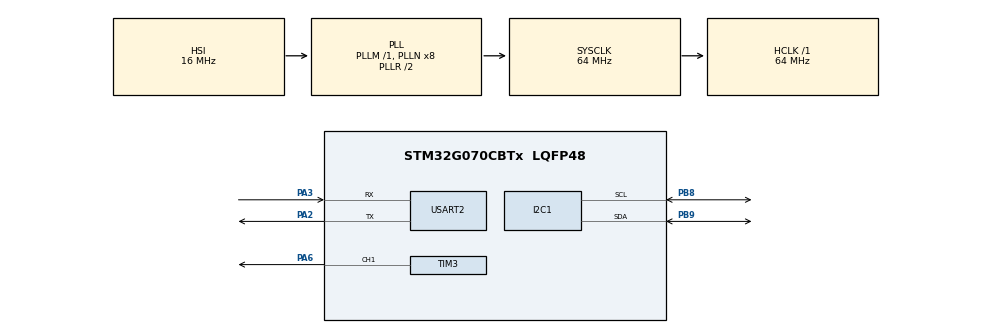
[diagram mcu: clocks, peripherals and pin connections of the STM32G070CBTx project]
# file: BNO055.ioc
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<<<<<<< HEAD
I2C1.Timing=0x10B17DB5
Mcu.Family=STM32G0
Mcu.Name=STM32G070CBTx
Mcu.Package=LQFP48
PA2.Mode=Asynchronous
PA2.Signal=USART2_TX
PA3.Mode=Asynchronous
PA3.Signal=USART2_RX
PA6.Signal=S_TIM3_CH1
PB8.Mode=I2C
PB8.Signal=I2C1_SCL
PB9.Mode=I2C
PB9.Signal=I2C1_SDA
PF0-OSC_IN\ (PF0).Mode=HSE-External-Oscillator
PF0-OSC_IN\ (PF0).Signal=RCC_OSC_IN
PF1-OSC_OUT\ (PF1).Mode=HSE-External-Oscillator
PF1-OSC_OUT\ (PF1).Signal=RCC_OSC_OUT
ProjectManager.HeapSize=0x200
ProjectManager.StackSize=0x400
ProjectManager.TargetToolchain=STM32CubeIDE
RCC.ADCFreq_Value=64000000
RCC.AHBFreq_Value=64000000
RCC.CortexFreq_Value=64000000
RCC.EXTERNAL_CLOCK_VALUE=48000
RCC.HCLKFreq_Value=64000000
RCC.HSE_VALUE=8000000
RCC.HSI_VALUE=16000000
RCC.LSE_VALUE=32768
RCC.SYSCLKFreq_VALUE=64000000
RCC.SYSCLKSource=RCC_SYSCLKSOURCE_PLLCLK
RCC.VCOOutputFreq_Value=128000000
SH.S_TIM3_CH1.0=TIM3_CH1,PWM Generation1 CH1
TIM3.Channel-PWM\ Generation1\ CH1=TIM_CHANNEL_1
USART2.VirtualMode-Asynchronous=VM_ASYNC
board=custom
=======
I2C1.Timing=0x10B17DB5
Mcu.Family=STM32G0
Mcu.Name=STM32G070CBTx
Mcu.Package=LQFP48
PA2.Mode=Asynchronous
PA2.Signal=USART2_TX
PA3.Mode=Asynchronous
PA3.Signal=USART2_RX
PA6.Signal=S_TIM3_CH1
PB8.Mode=I2C
PB8.Signal=I2C1_SCL
PB9.Mode=I2C
PB9.Signal=I2C1_SDA
PF0-OSC_IN\ (PF0).Mode=HSE-External-Oscillator
PF0-OSC_IN\ (PF0).Signal=RCC_OSC_IN
PF1-OSC_OUT\ (PF1).Mode=HSE-External-Oscillator
PF1-OSC_OUT\ (PF1).Signal=RCC_OSC_OUT
ProjectManager.HeapSize=0x200
ProjectManager.StackSize=0x400
ProjectManager.TargetToolchain=STM32CubeIDE
RCC.ADCFreq_Value=64000000
RCC.AHBFreq_Value=64000000
RCC.CortexFreq_Value=64000000
RCC.EXTERNAL_CLOCK_VALUE=48000
RCC.HCLKFreq_Value=64000000
RCC.HSE_VALUE=8000000
RCC.HSI_VALUE=16000000
RCC.LSE_VALUE=32768
RCC.SYSCLKFreq_VALUE=64000000
RCC.SYSCLKSource=RCC_SYSCLKSOURCE_PLLCLK
RCC.VCOOutputFreq_Value=128000000
SH.S_TIM3_CH1.0=TIM3_CH1,PWM Generation1 CH1
TIM3.Channel-PWM\ Generation1\ CH1=TIM_CHANNEL_1
USART2.VirtualMode-Asynchronous=VM_ASYNC
board=custom
>>>>>>> e7f9d5fadfd82d3603a8d5404be5383d040668f9

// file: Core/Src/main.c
/* USER CODE BEGIN Header */
/**
  ******************************************************************************
  * @file           : main.c
  * @brief          : Main program body
  ******************************************************************************
  * @attention
  *
  * Copyright (c) 2026 STMicroelectronics.
  * All rights reserved.
  *
  * This software is licensed under terms that can be found in the LICENSE file
  * in the root directory of this software component.
  * If no LICENSE file comes with this software, it is provided AS-IS.
  *
  ******************************************************************************
  */
/* USER CODE END Header */
#include "main.h"

/* USER CODE BEGIN Includes */
#include "bno055.h"
#include <stdint.h>
#include <stdio.h>
#include <string.h>
#include <math.h>
/* USER CODE END Includes */

/* USER CODE BEGIN PTD */

typedef enum {
  STATE_STANDING = 0,
  STATE_KNEELING,
  STATE_PRONE,
} WorkerState_t;

#define PHASE1_RMS_WINDOW_SAMPLES (100U)

typedef struct {
  float samples[PHASE1_RMS_WINDOW_SAMPLES];
  uint16_t index;
  uint16_t count;
  float sum;
  float sum_sq;
  float mean;
  float variance;
  float std_dev;
  float max;
  float min;
} Phase1Window_t;

/* USER CODE END PTD */

/* USER CODE BEGIN PD */

// ---- Phase 3: Lever-arm vector (neck base -> IMU/UWB tag on helmet) ----
// MEASURE these on your own helmet mount, in metres, in the IMU's body frame.
// Placeholder assumes the tag sits ~20 cm straight above the neck pivot.
#define LEVER_ARM_X (0.00f)
#define LEVER_ARM_Y (0.00f)
#define LEVER_ARM_Z (0.20f)

// ---- Phase 2: Posture classification thresholds ----
#define KNEEL_PITCH_THRESH_DEG (-45.0f) // pitch below this = candidate kneel/bend
#define KNEEL_HOLD_MS          (1500U)  // must hold for this long (debounce)
#define PRONE_ANGLE_THRESH_DEG (75.0f)  // |pitch| or |roll| beyond this = prone/fallen
#define G_MS2                  (9.80665f)
#define NEAR_1G_BAND_MS2       (1.5f)   // tolerance band around 1g for "still standing/kneeling"
#define FREEFALL_THRESH_MS2    (2.0f)   // |a| below this = freefall signature
#define IMPACT_THRESH_MS2      (25.0f)  // |a| above this = impact signature

// ---- Phase 2: Virtual-Z biomechanical invariants (metres) ----
#define VIRTUAL_Z_STANDING (1.70f)
#define VIRTUAL_Z_KNEELING (1.00f)
#define VIRTUAL_Z_PRONE    (0.20f)

// ---- Phase 1: IMU motion-intensity analysis ----
#define PHASE1_SAMPLE_PERIOD_MS (10U)
#define PHASE1_CSV_PERIOD_MS (50U)
#define PHASE1_REPORT_PERIOD_MS (250U)
#define PHASE1_DEFAULT_GRAVITY_MS2 (9.80665f)

// ---- Phase 4: Simple pedometer (step counting + velocity estimate) ----
// Peak/trough thresholds on the low-pass-filtered accel magnitude. A step is
// armed when the filtered magnitude rises above the high threshold (the
// push-off spike) and confirmed when it subsequently falls below the low
// threshold (the trough between steps). Tune these against your own logged
// CSV data -- they depend on mount location/orientation.
#define PEDOMETER_STEP_THRESH_HIGH_MS2 (11.5f)
#define PEDOMETER_STEP_THRESH_LOW_MS2  (8.5f)
// Fastest / slowest plausible step-to-step interval, used to reject noise
// (bounces counted as extra steps) and to decay velocity to zero once the
// person has stopped moving.
#define PEDOMETER_MIN_STEP_INTERVAL_MS (250U)
#define PEDOMETER_MAX_STEP_INTERVAL_MS (2000U)
// Exponential low-pass filter coefficient applied to the raw accel magnitude
// before peak detection (0 < alpha <= 1; lower = smoother/slower).
#define PEDOMETER_LPF_ALPHA             (0.25f)
// Weinberg dynamic stride-length model: stride = K * (peak-trough swing)^0.25.
// K is a per-person gait constant -- 0.50 is a reasonable adult default but
// should be calibrated against a known walking distance for real accuracy.
#define PEDOMETER_STRIDE_K              (0.50f)

// ---- Phase 5: velocity -> PWM mapping (drives a magnetic induction device) ----
// Timer: TIM3 CH1 on PA6 (Nucleo-G070RB Arduino header D12, AF1).
// VERIFY this pin/AF against your own CubeMX pinout before flashing --
// board silkscreens and AF tables vary by package/revision.
// PCLK1 = 64 MHz per the SystemClock_Config in this file (PLL 16MHz*8/2, no APB
// prescaler), so PSC/ARR below give a 500 Hz carrier. The compare register is
// then scaled from 1000 (minimal activity / near-zero response) up to 2000
// (highest plausible walking speed for an average human using their legs).
#define PWM_TIM_PSC              (63U)    // 64 MHz / (63+1)  = 1 MHz timer tick
#define PWM_TIM_ARR              (2000U)  // 1 MHz / (2000) = 500 Hz PWM carrier
#define PWM_DUTY_MIN_STEPS       (1000U)  // near-zero / low-motion output
#define PWM_DUTY_MAX_STEPS       (2000U)  // highest plausible human leg speed
// Walking speed (m/s) that should map to the top of the PWM command range.
// Tune this against your induction driver's actual control range -- this is a
// placeholder based on a brisk adult walking pace, not a measured value.
#define PWM_VELOCITY_MAX_MPS     (2.5f)

/* USER CODE END PD */

I2C_HandleTypeDef hi2c1;

TIM_HandleTypeDef htim3;

UART_HandleTypeDef huart2;

/* USER CODE BEGIN PV */
bno055_t imu;
volatile uint8_t csv_header_printed = 0;

Phase1Window_t phase1_acc_mag_window;
Phase1Window_t phase1_motion_window;
Phase1Window_t phase1_rms_window;
float phase1_gravity_estimate = PHASE1_DEFAULT_GRAVITY_MS2;
float phase1_current_acc_mag = 0.0f;
float phase1_current_motion_mag = 0.0f;
float phase1_current_rms = 0.0f;
float phase1_idle_threshold = 0.08f;
float phase1_walk_threshold = 0.35f;
float phase1_run_threshold = 0.85f;
uint32_t phase1_last_sample_ms = 0;
uint32_t phase1_last_csv_ms = 0;
uint32_t phase1_last_report_ms = 0;

// Global declarations for STM32CubeIDE Live Watch/Debugging

WorkerState_t current_state = STATE_STANDING;
float virtual_z = 1.70f;
float comp_offsetX = 0.0f;
float comp_offsetY = 0.0f;
float svm = 0.0f;

// ---- Phase 4: pedometer state ----
float ped_filtered_mag = 9.80665f;   // low-pass-filtered accel magnitude, seeded at 1g
uint8_t ped_armed = 0;               // 1 while waiting for the falling edge that confirms a step
float ped_peak_mag = 0.0f;
float ped_trough_mag = 0.0f;
uint32_t ped_last_step_ms = 0;
uint32_t ped_step_count = 0;
float ped_stride_length_m = 0.0f;
float ped_velocity_mps = 0.0f;       // instantaneous walking speed estimate
float ped_velocity_from_cadence_mps = 0.0f; // explicit steps/s -> m/s estimate
float ped_distance_m = 0.0f;         // cumulative distance walked
float ped_cadence_spm = 0.0f;        // steps per minute
float ped_cadence_sps = 0.0f;        // steps per second (same cadence, different units)
uint8_t ped_step_detected = 0;       // pulses 1 for the sample a step was confirmed on

// ---- Phase 5: PWM output state ----
TIM_HandleTypeDef htim3;              // drives the magnetic induction device on PA6/TIM3_CH1
uint32_t current_pwm_ccr = 0; // Add this line

/* USER CODE END PV */

void SystemClock_Config(void);
static void MX_GPIO_Init(void);
static void MX_I2C1_Init(void);
static void MX_USART2_UART_Init(void);
static void MX_TIM3_Init(void);
/* USER CODE BEGIN PFP */
static void classify_posture(const bno055_euler_t *euler, float svm_val);
static float virtual_z_for_state(WorkerState_t state);
static void compute_lever_arm(const bno055_vec4_t *q, float *offX, float *offY);
static void phase1_window_reset(Phase1Window_t *window);
static void phase1_window_update(Phase1Window_t *window, float value);
static uint8_t pedometer_update(float raw_mag, uint32_t now_ms);
static void MX_TIM3_PWM_Init(void);
static void pwm_set_from_velocity(float velocity_mps);
/* USER CODE END PFP */

/* USER CODE BEGIN 0 */

static void phase1_window_reset(Phase1Window_t *window)
{
  memset(window, 0, sizeof(*window));
  window->max = 0.0f;
  window->min = 0.0f;
}

static void phase1_window_update(Phase1Window_t *window, float value)
{
  if (window->count < PHASE1_RMS_WINDOW_SAMPLES)
  {
    window->samples[window->index] = value;
    window->count++;
  }
  else
  {
    float old_value = window->samples[window->index];
    window->sum -= old_value;
    window->sum_sq -= old_value * old_value;
    window->samples[window->index] = value;
  }

  window->sum += value;
  window->sum_sq += value * value;
  window->index = (window->index + 1U) % PHASE1_RMS_WINDOW_SAMPLES;

  if (window->count > 0U)
  {
    window->mean = window->sum / (float)window->count;
    float variance = (window->sum_sq / (float)window->count) - (window->mean * window->mean);
    if (variance < 0.0f)
    {
      variance = 0.0f;
    }
    window->variance = variance;
    window->std_dev = sqrtf(variance);
  }

  float max_val = -1000000.0f;
  float min_val = 1000000.0f;
  for (uint16_t i = 0; i < window->count; i++)
  {
    float sample = window->samples[i];
    if (sample > max_val)
    {
      max_val = sample;
    }
    if (sample < min_val)
    {
      min_val = sample;
    }
  }

  window->max = max_val;
  window->min = min_val;
}

// Debounce timer state for the kneel/bend transition (S0 -> S1)
static uint32_t kneel_timer_start  = 0;
static uint8_t  kneel_timer_active = 0;

/**
 * @brief Phase 2: Posture classification ("Virtual-Z" trigger).
 *        Updates the global current_state using pitch/roll + a hold timer
 *        for S1 and an instantaneous check for S2 (prone/fallen).
 */
static void classify_posture(const bno055_euler_t *euler, float svm_val)
{
  // S2 - Prone/Fallen: extreme tilt, OR a freefall/impact acceleration signature.
  // This check is instantaneous (no debounce) since it's a safety-critical state.
  if (fabsf(euler->pitch) > PRONE_ANGLE_THRESH_DEG ||
      fabsf(euler->roll)  > PRONE_ANGLE_THRESH_DEG ||
      svm_val < FREEFALL_THRESH_MS2 ||
      svm_val > IMPACT_THRESH_MS2)
  {
    current_state = STATE_PRONE;
    kneel_timer_active = 0;
    return;
  }

  // S1 - Kneeling/Bending: pitch below threshold, sustained for KNEEL_HOLD_MS,
  // AND the accel magnitude stays near 1g (rules out a fall in progress).
  uint8_t near_1g = (svm_val > (G_MS2 - NEAR_1G_BAND_MS2)) &&
                    (svm_val < (G_MS2 + NEAR_1G_BAND_MS2));

  if (euler->pitch < KNEEL_PITCH_THRESH_DEG && near_1g)
  {
    if (!kneel_timer_active)
    {
      kneel_timer_active = 1;
      kneel_timer_start  = HAL_GetTick();
    }
    if ((HAL_GetTick() - kneel_timer_start) > KNEEL_HOLD_MS)
    {
      current_state = STATE_KNEELING;
    }
    // else: still within the debounce window, hold last classified state
  }
  else
  {
    kneel_timer_active = 0;
    current_state = STATE_STANDING;
  }
}

/**
 * @brief Maps a discrete posture state to its Virtual-Z biomechanical invariant.
 */
static float virtual_z_for_state(WorkerState_t state)
{
  switch (state)
  {
    case STATE_KNEELING: return VIRTUAL_Z_KNEELING;
    case STATE_PRONE:    return VIRTUAL_Z_PRONE;
    case STATE_STANDING:
    default:             return VIRTUAL_Z_STANDING;
  }
}

/**
 * @brief Phase 3: Lever-arm compensation.
 *        Rotates the fixed neck->tag lever-arm vector by the IMU's current
 *        orientation quaternion, producing the (x,y) planar displacement the
 *        tag has moved away from the torso due to head rotation alone.
 *        A host-side EKF should subtract (offX, offY) from the raw UWB
 *        tag coordinate to recover the stabilized torso position:
 *            p_torso = p_tag - R(q) * l_arm
 */
static void compute_lever_arm(const bno055_vec4_t *q, float *offX, float *offY)
{
  float w = q->w, x = q->x, y = q->y, z = q->z;

  // Rows 0 and 1 of the rotation matrix derived from the quaternion
  // (row 2 / Z is not needed here: Z is handled separately via Virtual-Z)
  float r00 = 1.0f - 2.0f * (y * y + z * z);
  float r01 = 2.0f * (x * y - w * z);
  float r02 = 2.0f * (x * z + w * y);
  float r10 = 2.0f * (x * y + w * z);
  float r11 = 1.0f - 2.0f * (x * x + z * z);
  float r12 = 2.0f * (y * z - w * x);

  *offX = r00 * LEVER_ARM_X + r01 * LEVER_ARM_Y + r02 * LEVER_ARM_Z;
  *offY = r10 * LEVER_ARM_X + r11 * LEVER_ARM_Y + r12 * LEVER_ARM_Z;
}

/**
 * @brief Phase 4: Simple peak/trough pedometer with a dynamic (Weinberg)
 *        stride-length model, driven off the raw accel-magnitude signal.
 *
 *        1) Low-pass filters the raw accel magnitude to smooth sensor noise.
 *        2) Arms when the filtered signal rises above a high threshold (the
 *           push-off spike of a footstep) and confirms the step when it
 *           subsequently falls below a low threshold (the trough between
 *           steps), with a minimum-interval debounce to reject bounce.
 *        3) On each confirmed step, estimates stride length from the
 *           peak-to-trough swing (harder swing -> longer stride) and divides
 *           by the step interval to get an instantaneous walking velocity.
 *        4) If no step has landed for PEDOMETER_MAX_STEP_INTERVAL_MS, the
 *           velocity/cadence decay to zero so the display doesn't get stuck
 *           showing a stale walking speed once the person has stopped.
 *
 * @param  raw_mag Raw accel magnitude ||accel|| (m/s^2) for this sample --
 *                 callers that already compute svm should pass it straight
 *                 in to avoid a redundant sqrt.
 * @param  now_ms  Current tick count (HAL_GetTick()).
 * @retval 1 on the sample a step was confirmed, 0 otherwise.
 */
static uint8_t pedometer_update(float raw_mag, uint32_t now_ms)
{
  // Smooth the raw signal so single-sample spikes don't false-trigger.
  ped_filtered_mag += PEDOMETER_LPF_ALPHA * (raw_mag - ped_filtered_mag);

  uint8_t step_detected = 0;

  if (!ped_armed)
  {
    // Waiting for the rising edge (push-off) of the next step.
    if (ped_filtered_mag > PEDOMETER_STEP_THRESH_HIGH_MS2)
    {
      ped_armed = 1U;
      ped_peak_mag = ped_filtered_mag;
      ped_trough_mag = ped_filtered_mag;
    }
  }
  else
  {
    if (ped_filtered_mag > ped_peak_mag)   ped_peak_mag = ped_filtered_mag;
    if (ped_filtered_mag < ped_trough_mag) ped_trough_mag = ped_filtered_mag;

    if (ped_filtered_mag < PEDOMETER_STEP_THRESH_LOW_MS2)
    {
      // Falling edge confirms the step, provided it's not just bounce off
      // the previous one.
      uint32_t interval_ms = now_ms - ped_last_step_ms;
      if (ped_last_step_ms == 0U || interval_ms >= PEDOMETER_MIN_STEP_INTERVAL_MS)
      {
        ped_step_count++;
        step_detected = 1U;

        // Weinberg dynamic stride estimate: stride = K * swing^0.25.
        float swing = ped_peak_mag - ped_trough_mag;
        if (swing < 0.0f) swing = 0.0f;
        ped_stride_length_m = PEDOMETER_STRIDE_K * sqrtf(sqrtf(swing));

        if (ped_last_step_ms != 0U && interval_ms > 0U && interval_ms < PEDOMETER_MAX_STEP_INTERVAL_MS)
        {
          float interval_s = (float)interval_ms / 1000.0f;
          ped_cadence_spm = 60000.0f / (float)interval_ms;
          ped_cadence_sps = 1000.0f / (float)interval_ms;

          // Velocity from cadence is the simple relationship:
          // steps/second * stride_length_in_meters = metres/second.
          ped_velocity_from_cadence_mps = ped_stride_length_m * ped_cadence_sps;
          ped_velocity_mps = ped_velocity_from_cadence_mps;

          // The old interval-based form gives the same result mathematically:
          // ped_stride_length_m / interval_s == ped_stride_length_m * cadence_sps.
          (void)interval_s;
        }
        else
        {
          // First step ever, or the gap was too long to trust a velocity from.
          ped_velocity_mps = 0.0f;
          ped_velocity_from_cadence_mps = 0.0f;
          ped_cadence_spm = 0.0f;
          ped_cadence_sps = 0.0f;
        }

        ped_distance_m += ped_stride_length_m;
        ped_last_step_ms = now_ms;
      }

      ped_armed = 0U;
    }
  }

  // No step for too long -> the person has stopped, decay speed/cadence to 0.
  if (ped_last_step_ms != 0U && (now_ms - ped_last_step_ms) > PEDOMETER_MAX_STEP_INTERVAL_MS)
  {
    ped_velocity_mps = 0.0f;
    ped_cadence_spm = 0.0f;
    ped_cadence_sps = 0.0f;
  }

  return step_detected;
}

/**
 * @brief Phase 5: One-time TIM3 PWM peripheral setup (PA6 / TIM3_CH1).
 *        Kept in USER CODE so it survives CubeMX regeneration -- if you add
 *        TIM3 in the .ioc file instead, delete this and use the generated
 *        MX_TIM3_Init() the normal way.
 */
static void MX_TIM3_PWM_Init(void)
{
  __HAL_RCC_TIM3_CLK_ENABLE();
  __HAL_RCC_GPIOA_CLK_ENABLE();

  GPIO_InitTypeDef GPIO_InitStruct = {0};
  GPIO_InitStruct.Pin = GPIO_PIN_6;
  GPIO_InitStruct.Mode = GPIO_MODE_AF_PP;
  GPIO_InitStruct.Pull = GPIO_NOPULL;
  GPIO_InitStruct.Speed = GPIO_SPEED_FREQ_LOW;
  GPIO_InitStruct.Alternate = GPIO_AF1_TIM3;
  HAL_GPIO_Init(GPIOA, &GPIO_InitStruct);

  htim3.Instance = TIM3;
  htim3.Init.Prescaler = PWM_TIM_PSC;
  htim3.Init.CounterMode = TIM_COUNTERMODE_UP;
  htim3.Init.Period = PWM_TIM_ARR;
  htim3.Init.ClockDivision = TIM_CLOCKDIVISION_DIV1;
  htim3.Init.AutoReloadPreload = TIM_AUTORELOAD_PRELOAD_ENABLE;
  if (HAL_TIM_PWM_Init(&htim3) != HAL_OK)
  {
    Error_Handler();
  }

  TIM_OC_InitTypeDef sConfigOC = {0};
  sConfigOC.OCMode = TIM_OCMODE_PWM1;
  sConfigOC.Pulse = 0U;                       // start at 0% duty (stationary)
  sConfigOC.OCPolarity = TIM_OCPOLARITY_HIGH;
  sConfigOC.OCFastMode = TIM_OCFAST_DISABLE;
  if (HAL_TIM_PWM_ConfigChannel(&htim3, &sConfigOC, TIM_CHANNEL_1) != HAL_OK)
  {
    Error_Handler();
  }
}

/**
 * @brief Phase 5: Maps walking velocity to a PWM duty cycle driving the
 *        induction device -- faster steps -> higher duty cycle -> stronger
 *        drive signal. velocity_mps is already stride_length / step_interval,
 *        which is mathematically the same thing as stride_length * cadence_sps,
 *        so no separate steps/second-based recomputation is needed here.
 * @param velocity_mps Current walking speed estimate (m/s), e.g. ped_velocity_mps.
 */
static void pwm_set_from_velocity(float velocity_mps)
{
  float v = velocity_mps;
  if (v < 0.0f)
  {
    v = 0.0f;
  }
  if (v > PWM_VELOCITY_MAX_MPS)
  {
    v = PWM_VELOCITY_MAX_MPS;
  }

  float normalized = v / PWM_VELOCITY_MAX_MPS;
  uint32_t ccr = (uint32_t)lroundf((float)PWM_DUTY_MIN_STEPS +
                                    normalized * (float)(PWM_DUTY_MAX_STEPS - PWM_DUTY_MIN_STEPS));

  if (ccr < PWM_DUTY_MIN_STEPS)
  {
    ccr = PWM_DUTY_MIN_STEPS;
  }
  if (ccr > PWM_DUTY_MAX_STEPS)
  {
    ccr = PWM_DUTY_MAX_STEPS;
  }

  current_pwm_ccr = ccr; // Save the value globally here!
  __HAL_TIM_SET_COMPARE(&htim3, TIM_CHANNEL_1, ccr);
}

/* USER CODE END 0 */

int main(void)
{

  /* MCU Configuration--------------------------------------------------------*/

  /* Reset of all peripherals, Initializes the Flash interface and the Systick. */
  HAL_Init();

  /* Configure the system clock */
  SystemClock_Config();

  /* Initialize all configured peripherals */
  MX_GPIO_Init();
  MX_I2C1_Init();
  MX_USART2_UART_Init();
  MX_TIM3_Init();
  /* USER CODE BEGIN 2 */

  // Initialize BNO055 sensor
  imu = bno055_new();
  imu.i2c = &hi2c1;
  imu.addr = BNO_ADDR;
  imu.mode = BNO_MODE_NDOF;

  // Verify BNO055 presence by reading chip ID
  uint8_t chip_id = 0;
  HAL_I2C_Master_Transmit(&hi2c1, (BNO_ADDR << 1), (uint8_t *)&chip_id, 1, HAL_MAX_DELAY);
  HAL_I2C_Master_Receive(&hi2c1, (BNO_ADDR << 1), &chip_id, 1, HAL_MAX_DELAY);

  // Send verification status to UART
  char msg[100];
  if (chip_id == BNO_DEF_CHIP_ID) {
    sprintf(msg, "BNO055 detected! Chip ID: 0x%02X\r\n", chip_id);
  } else {
    sprintf(msg, "BNO055 NOT found! Expected 0x%02X, got 0x%02X\r\n", BNO_DEF_CHIP_ID, chip_id);
  }
  HAL_UART_Transmit(&huart2, (uint8_t *)msg, strlen(msg), HAL_MAX_DELAY);

  // Initialize the sensor if detected
  if (chip_id == BNO_DEF_CHIP_ID) {
    error_bno init_err = bno055_init(&imu);
    if (init_err != BNO_OK) {
      sprintf(msg, "BNO055 initialization failed: %s\r\n", bno055_err_str(init_err));
      HAL_UART_Transmit(&huart2, (uint8_t *)msg, strlen(msg), HAL_MAX_DELAY);
      Error_Handler();
    }
    sprintf(msg, "BNO055 initialized successfully!\r\n");
    HAL_UART_Transmit(&huart2, (uint8_t *)msg, strlen(msg), HAL_MAX_DELAY);
  } else {
    Error_Handler();
  }

  phase1_window_reset(&phase1_acc_mag_window);
  phase1_window_reset(&phase1_motion_window);
  phase1_window_reset(&phase1_rms_window);

  // Phase 5: bring up the PWM output that will drive the induction device,
  // starting at 0% duty until the first velocity estimate arrives.
  MX_TIM3_PWM_Init();
  HAL_TIM_PWM_Start(&htim3, TIM_CHANNEL_1);

  /* USER CODE END 2 */

  /* Infinite loop */
  while (1)
  {

    /* USER CODE BEGIN 3 */
    if ((HAL_GetTick() - phase1_last_sample_ms) < PHASE1_SAMPLE_PERIOD_MS)
    {
      HAL_Delay(1U);
      continue;
    }
    phase1_last_sample_ms = HAL_GetTick();

    // Print CSV header once
    if (!csv_header_printed) {
      char header[] = "roll,pitch,yaw,qw,qx,qy,qz,accx,accy,accz,gyrox,gyroy,gyroz,svm,state,z_v,lever_offx,lever_offy,steps,stride_m,velocity_mps,cadence_spm,cadence_sps,distance_m,step_flag\r\n";
      HAL_UART_Transmit(&huart2, (uint8_t *)header, strlen(header), HAL_MAX_DELAY);
      csv_header_printed = 1;
    }

    // Read sensor data
    bno055_euler_t euler;
    bno055_vec3_t accel, gyro;
    bno055_vec4_t quat;

    if (imu.euler(&imu, &euler) == BNO_OK &&
        imu.acc(&imu, &accel) == BNO_OK &&
        imu.gyro(&imu, &gyro) == BNO_OK &&
        imu.quaternion(&imu, &quat) == BNO_OK) {

      // Phase 2: posture classification (Virtual-Z trigger)
      svm = sqrtf(accel.x * accel.x + accel.y * accel.y + accel.z * accel.z);
      classify_posture(&euler, svm);
      virtual_z = virtual_z_for_state(current_state);

      // Phase 3: lever-arm compensation (helmet rotation vs torso position)
      compute_lever_arm(&quat, &comp_offsetX, &comp_offsetY);

      // Phase 4: pedometer (step count + walking velocity estimate).
      // Reuses svm (computed just above) as the raw accel-magnitude input so
      // we don't recompute the same sqrt twice per loop iteration.
      ped_step_detected = pedometer_update(svm, HAL_GetTick());

      // Phase 5: push the current velocity estimate out to the induction
      // device as a PWM duty cycle (0 m/s -> 0%, PWM_VELOCITY_MAX_MPS -> 100%).
      pwm_set_from_velocity(ped_velocity_mps);

      // Phase 1: compute motion-intensity metrics using a 100-sample window.
      phase1_current_acc_mag = sqrtf(accel.x * accel.x + accel.y * accel.y + accel.z * accel.z);
      phase1_window_update(&phase1_acc_mag_window, phase1_current_acc_mag);
      phase1_gravity_estimate = phase1_acc_mag_window.mean;
      phase1_current_motion_mag = fabsf(phase1_current_acc_mag - phase1_gravity_estimate);
      phase1_window_update(&phase1_motion_window, phase1_current_motion_mag);
      phase1_current_rms = sqrtf(phase1_motion_window.sum_sq / (float)phase1_motion_window.count);
      phase1_window_update(&phase1_rms_window, phase1_current_rms);

      phase1_idle_threshold = fmaxf(0.08f, phase1_rms_window.mean + 2.0f * phase1_rms_window.std_dev);
      phase1_walk_threshold = fmaxf(0.35f, phase1_idle_threshold + 0.20f);
      phase1_run_threshold = fmaxf(0.85f, phase1_walk_threshold + 0.50f);

      const char *phase1_state = "standing";
      if (phase1_current_rms > phase1_run_threshold)
      {
        phase1_state = "running";
      }
      else if (phase1_current_rms > phase1_walk_threshold)
      {
        phase1_state = "walking";
      }
      else if (phase1_current_rms > phase1_idle_threshold)
      {
        phase1_state = "slow";
      }

      if ((HAL_GetTick() - phase1_last_report_ms) >= PHASE1_REPORT_PERIOD_MS)
      {
        char report[220];
        int report_len = snprintf(report, sizeof(report),
                                  "phase1 acc_mag=%.3f gravity=%.3f motion=%.3f moving_avg=%.3f rms=%.3f mean_rms=%.3f max_rms=%.3f min_rms=%.3f std=%.3f var=%.3f state=%s thr=%.3f/%.3f/%.3f\r\n",
                                  phase1_current_acc_mag,
                                  phase1_gravity_estimate,
                                  phase1_current_motion_mag,
                                  phase1_motion_window.mean,
                                  phase1_current_rms,
                                  phase1_rms_window.mean,
                                  phase1_rms_window.max,
                                  phase1_rms_window.min,
                                  phase1_rms_window.std_dev,
                                  phase1_rms_window.variance,
                                  phase1_state,
                                  phase1_idle_threshold,
                                  phase1_walk_threshold,
                                  phase1_run_threshold);
        HAL_UART_Transmit(&huart2, (uint8_t *)report, report_len, HAL_MAX_DELAY);
        phase1_last_report_ms = HAL_GetTick();
      }

      if ((HAL_GetTick() - phase1_last_csv_ms) >= PHASE1_CSV_PERIOD_MS)
            {
              // Format and send CSV data including the new PWM value
              char data[370];
              int len = sprintf(data, "%.2f,%.2f,%.2f,%.4f,%.4f,%.4f,%.4f,%.2f,%.2f,%.2f,%.2f,%.2f,%.2f,%.2f,%d,%.2f,%.4f,%.4f,%lu,%.3f,%.3f,%.2f,%.2f,%.3f,%d,%lu\r\n",
                               euler.roll, euler.pitch, euler.yaw,
                               quat.w, quat.x, quat.y, quat.z,
                               accel.x, accel.y, accel.z,
                               gyro.x, gyro.y, gyro.z,
                               svm, (int)current_state, virtual_z,
                               comp_offsetX, comp_offsetY,
                               (unsigned long)ped_step_count, ped_stride_length_m,
                               ped_velocity_mps, ped_cadence_spm, ped_cadence_sps, ped_distance_m,
                               (int)ped_step_detected,
                               (unsigned long)current_pwm_ccr); // <-- Added PWM here

              HAL_UART_Transmit(&huart2, (uint8_t *)data, len, HAL_MAX_DELAY);
              phase1_last_csv_ms = HAL_GetTick();
            }
    }
  }
  /* USER CODE END 3 */
}

void SystemClock_Config(void)
{
  RCC_OscInitTypeDef RCC_OscInitStruct = {0};
  RCC_ClkInitTypeDef RCC_ClkInitStruct = {0};

  /** Configure the main internal regulator output voltage
  */
  HAL_PWREx_ControlVoltageScaling(PWR_REGULATOR_VOLTAGE_SCALE1);

  /** Initializes the RCC Oscillators according to the specified parameters
  * in the RCC_OscInitTypeDef structure.
  */
  RCC_OscInitStruct.OscillatorType = RCC_OSCILLATORTYPE_HSI;
  RCC_OscInitStruct.HSIState = RCC_HSI_ON;
  RCC_OscInitStruct.HSIDiv = RCC_HSI_DIV1;
  RCC_OscInitStruct.HSICalibrationValue = RCC_HSICALIBRATION_DEFAULT;
  RCC_OscInitStruct.PLL.PLLState = RCC_PLL_ON;
  RCC_OscInitStruct.PLL.PLLSource = RCC_PLLSOURCE_HSI;
  RCC_OscInitStruct.PLL.PLLM = RCC_PLLM_DIV1;
  RCC_OscInitStruct.PLL.PLLN = 8;
  RCC_OscInitStruct.PLL.PLLP = RCC_PLLP_DIV2;
  RCC_OscInitStruct.PLL.PLLR = RCC_PLLR_DIV2;
  if (HAL_RCC_OscConfig(&RCC_OscInitStruct) != HAL_OK)
  {
    Error_Handler();
  }

  /** Initializes the CPU, AHB and APB buses clocks
  */
  RCC_ClkInitStruct.ClockType = RCC_CLOCKTYPE_HCLK|RCC_CLOCKTYPE_SYSCLK
                              |RCC_CLOCKTYPE_PCLK1;
  RCC_ClkInitStruct.SYSCLKSource = RCC_SYSCLKSOURCE_PLLCLK;
  RCC_ClkInitStruct.AHBCLKDivider = RCC_SYSCLK_DIV1;
  RCC_ClkInitStruct.APB1CLKDivider = RCC_HCLK_DIV1;

  if (HAL_RCC_ClockConfig(&RCC_ClkInitStruct, FLASH_LATENCY_2) != HAL_OK)
  {
    Error_Handler();
  }
}

static void MX_I2C1_Init(void)
{

  hi2c1.Instance = I2C1;
  hi2c1.Init.Timing = 0x10B17DB5;
  hi2c1.Init.OwnAddress1 = 0;
  hi2c1.Init.AddressingMode = I2C_ADDRESSINGMODE_7BIT;
  hi2c1.Init.DualAddressMode = I2C_DUALADDRESS_DISABLE;
  hi2c1.Init.OwnAddress2 = 0;
  hi2c1.Init.OwnAddress2Masks = I2C_OA2_NOMASK;
  hi2c1.Init.GeneralCallMode = I2C_GENERALCALL_DISABLE;
  hi2c1.Init.NoStretchMode = I2C_NOSTRETCH_DISABLE;
  if (HAL_I2C_Init(&hi2c1) != HAL_OK)
  {
    Error_Handler();
  }

  /** Configure Analogue filter
  */
  if (HAL_I2CEx_ConfigAnalogFilter(&hi2c1, I2C_ANALOGFILTER_ENABLE) != HAL_OK)
  {
    Error_Handler();
  }

  /** Configure Digital filter
  */
  if (HAL_I2CEx_ConfigDigitalFilter(&hi2c1, 0) != HAL_OK)
  {
    Error_Handler();
  }

}

static void MX_TIM3_Init(void)
{

  TIM_MasterConfigTypeDef sMasterConfig = {0};
  TIM_OC_InitTypeDef sConfigOC = {0};

  htim3.Instance = TIM3;
  htim3.Init.Prescaler = 0;
  htim3.Init.CounterMode = TIM_COUNTERMODE_UP;
  htim3.Init.Period = 65535;
  htim3.Init.ClockDivision = TIM_CLOCKDIVISION_DIV1;
  htim3.Init.AutoReloadPreload = TIM_AUTORELOAD_PRELOAD_DISABLE;
  if (HAL_TIM_PWM_Init(&htim3) != HAL_OK)
  {
    Error_Handler();
  }
  sMasterConfig.MasterOutputTrigger = TIM_TRGO_RESET;
  sMasterConfig.MasterSlaveMode = TIM_MASTERSLAVEMODE_DISABLE;
  if (HAL_TIMEx_MasterConfigSynchronization(&htim3, &sMasterConfig) != HAL_OK)
  {
    Error_Handler();
  }
  sConfigOC.OCMode = TIM_OCMODE_PWM1;
  sConfigOC.Pulse = 0;
  sConfigOC.OCPolarity = TIM_OCPOLARITY_HIGH;
  sConfigOC.OCFastMode = TIM_OCFAST_DISABLE;
  if (HAL_TIM_PWM_ConfigChannel(&htim3, &sConfigOC, TIM_CHANNEL_1) != HAL_OK)
  {
    Error_Handler();
  }
  HAL_TIM_MspPostInit(&htim3);

}

static void MX_USART2_UART_Init(void)
{

  huart2.Instance = USART2;
  huart2.Init.BaudRate = 115200;
  huart2.Init.WordLength = UART_WORDLENGTH_8B;
  huart2.Init.StopBits = UART_STOPBITS_1;
  huart2.Init.Parity = UART_PARITY_NONE;
  huart2.Init.Mode = UART_MODE_TX_RX;
  huart2.Init.HwFlowCtl = UART_HWCONTROL_NONE;
  huart2.Init.OverSampling = UART_OVERSAMPLING_16;
  huart2.Init.OneBitSampling = UART_ONE_BIT_SAMPLE_DISABLE;
  huart2.Init.ClockPrescaler = UART_PRESCALER_DIV1;
  huart2.AdvancedInit.AdvFeatureInit = UART_ADVFEATURE_NO_INIT;
  if (HAL_UART_Init(&huart2) != HAL_OK)
  {
    Error_Handler();
  }
  if (HAL_UARTEx_SetTxFifoThreshold(&huart2, UART_TXFIFO_THRESHOLD_1_8) != HAL_OK)
  {
    Error_Handler();
  }
  if (HAL_UARTEx_SetRxFifoThreshold(&huart2, UART_RXFIFO_THRESHOLD_1_8) != HAL_OK)
  {
    Error_Handler();
  }
  if (HAL_UARTEx_DisableFifoMode(&huart2) != HAL_OK)
  {
    Error_Handler();
  }

}

static void MX_GPIO_Init(void)
{

  /* GPIO Ports Clock Enable */
  __HAL_RCC_GPIOF_CLK_ENABLE();
  __HAL_RCC_GPIOA_CLK_ENABLE();
  __HAL_RCC_GPIOB_CLK_ENABLE();

}

/* USER CODE BEGIN 4 */

// Printf retargeting to UART for debugging
int _write(int file, char *ptr, int len)
{
    HAL_UART_Transmit(&huart2, (uint8_t *)ptr, len, HAL_MAX_DELAY);
    return len;
}

/* USER CODE END 4 */

void Error_Handler(void)
{
  __disable_irq();
  while (1)
  {
  }
}
